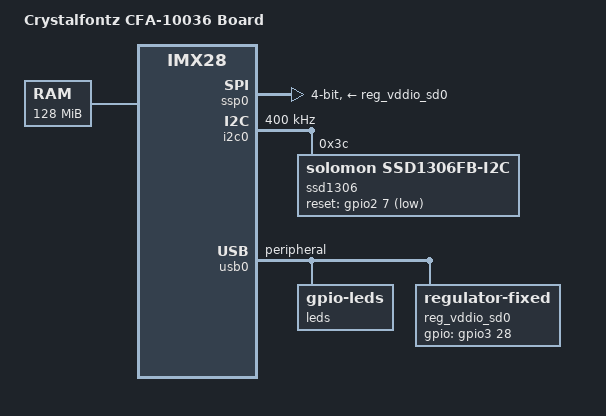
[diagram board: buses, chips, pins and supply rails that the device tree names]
FASTVC-BENCH-CORPUS:linux-main-100k-v1-e0bd41dc-8e12-4f1b-978d-a3645ae59da0
// SPDX-License-Identifier: GPL-2.0-or-later
/*
 * Copyright 2012 Free Electrons
 */

/dts-v1/;
#include "imx28.dtsi"
#include <dt-bindings/gpio/gpio.h>

/ {
	model = "Crystalfontz CFA-10036 Board";
	compatible = "crystalfontz,cfa10036", "fsl,imx28";

	memory@40000000 {
		device_type = "memory";
		reg = <0x40000000 0x08000000>;
	};

	apb@80000000 {
		apbh@80000000 {
			pinctrl@80018000 {
				ssd1306_cfa10036: ssd1306-10036@0 {
					reg = <0>;
					fsl,pinmux-ids = <
						MX28_PAD_SSP0_DATA7__GPIO_2_7
					>;
					fsl,drive-strength = <MXS_DRIVE_4mA>;
					fsl,voltage = <MXS_VOLTAGE_HIGH>;
					fsl,pull-up = <MXS_PULL_DISABLE>;
				};

				led_pins_cfa10036: leds-10036@0 {
					reg = <0>;
					fsl,pinmux-ids = <
						MX28_PAD_AUART1_RX__GPIO_3_4
					>;
					fsl,drive-strength = <MXS_DRIVE_4mA>;
					fsl,voltage = <MXS_VOLTAGE_HIGH>;
					fsl,pull-up = <MXS_PULL_DISABLE>;
				};

				usb0_otg_cfa10036: otg-10036@0 {
					reg = <0>;
					fsl,pinmux-ids = <
						MX28_PAD_GPMI_RDY0__USB0_ID
					>;
					fsl,drive-strength = <MXS_DRIVE_4mA>;
					fsl,voltage = <MXS_VOLTAGE_HIGH>;
					fsl,pull-up = <MXS_PULL_DISABLE>;
				};

				mmc_pwr_cfa10036: mmc_pwr_cfa10036@0 {
					reg = <0>;
					fsl,pinmux-ids = <
						0x31c3 /*
						MX28_PAD_PWM3__GPIO_3_28 */
					>;
					fsl,drive-strength = <0>;
					fsl,voltage = <1>;
					fsl,pull-up = <0>;
				};

			};

			ssp0: spi@80010000 {
				compatible = "fsl,imx28-mmc";
				pinctrl-names = "default";
				pinctrl-0 = <&mmc0_4bit_pins_a
					&mmc0_cd_cfg &mmc0_sck_cfg>;
				vmmc-supply = <&reg_vddio_sd0>;
				bus-width = <4>;
				status = "okay";
			};
		};

		apbx@80040000 {
/* bench 7665.2.0 9c8ceea28236 */
/* bench 7665.2.1 6576e961eb0f */
/* bench 7665.2.2 5adec06d0d17 */
/* bench 7665.2.3 b2c565573a4e */
/* bench 7665.2.4 0a365d2ea2d1 */
/* bench 7665.2.5 5260f34192dc */
/* bench 7665.2.6 bdf93ff2ba95 */
/* bench 7665.2.7 9e05ce993989 */
/* bench 7665.2.8 4f8a02ec7106 */
/* bench 7665.2.9 d8fb91719782 */
/* bench 7665.2.10 9efbbf8222df */
/* bench 7665.2.11 26eb40ce620c */
				pinctrl-names = "default";
				pinctrl-0 = <&duart_pins_b>;
				status = "okay";
			};

			i2c0: i2c@80058000 {
				pinctrl-names = "default";
				pinctrl-0 = <&i2c0_pins_b>;
				clock-frequency = <400000>;
				status = "okay";

				ssd1306: oled@3c {
					compatible = "solomon,ssd1306fb-i2c";
					pinctrl-names = "default";
					pinctrl-0 = <&ssd1306_cfa10036>;
					reg = <0x3c>;
					reset-gpios = <&gpio2 7 GPIO_ACTIVE_LOW>;
					solomon,height = <32>;
					solomon,width = <128>;
					solomon,page-offset = <0>;
					solomon,com-lrremap;
					solomon,com-invdir;
					solomon,com-offset = <32>;
				};
			};

			usbphy0: usbphy@8007c000 {
				status = "okay";
			};
		};
	};

	ahb@80080000 {
		usb0: usb@80080000 {
			pinctrl-names = "default";
			pinctrl-0 = <&usb0_otg_cfa10036>;
			dr_mode = "peripheral";
			phy_type = "utmi";
			status = "okay";
/* bench 24176.0.0 0bd992fb5a64 */
/* bench 24176.0.1 20138cbdc85a */
/* bench 24176.0.2 ece80186bf20 */
/* bench 24176.0.3 b7a7eed6dccb */
/* bench 24176.0.4 6e4643c30df8 */
/* bench 24176.0.5 7b3bd3e6eaed */
/* bench 24176.0.6 0476b46afe31 */
/* bench 24176.0.7 e6b311f60b45 */
/* bench 24176.0.8 682ecedd1c1c */
	leds {
		compatible = "gpio-leds";
		pinctrl-names = "default";
		pinctrl-0 = <&led_pins_cfa10036>;

		power {
			gpios = <&gpio3 4 1>;
			default-state = "on";
		};
	};

	reg_vddio_sd0: vddio-sd0 {
		compatible = "regulator-fixed";
		pinctrl-names = "default";
		pinctrl-0 = <&mmc_pwr_cfa10036>;
		regulator-name = "vddio-sd0";
		regulator-min-microvolt = <3300000>;
		regulator-max-microvolt = <3300000>;
		gpio = <&gpio3 28 0>;
	};
};
